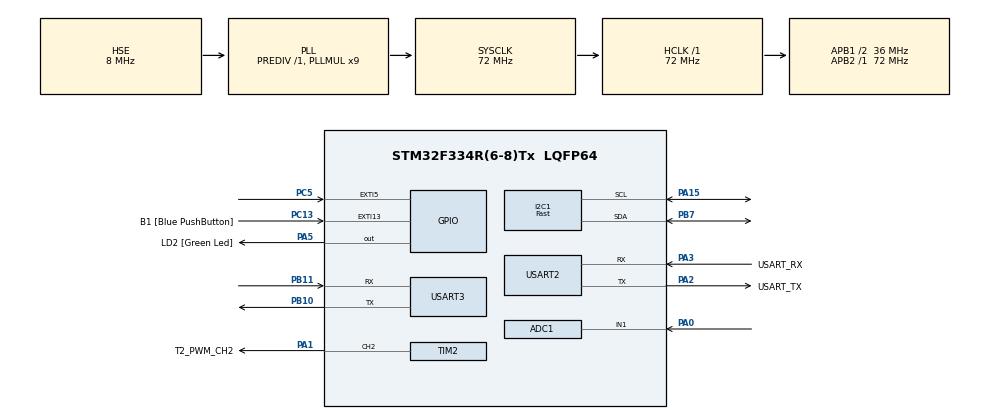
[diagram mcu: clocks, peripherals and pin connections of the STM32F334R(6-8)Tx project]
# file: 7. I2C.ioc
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ADC1.Channel-0\#ChannelRegularConversion=ADC_CHANNEL_1
ADC1.ClockPrescaler=ADC_CLOCK_SYNC_PCLK_DIV4
ADC1.ContinuousConvMode=ENABLE
ADC1.DMAContinuousRequests=ENABLE
ADC1.DataAlign=ADC_DATAALIGN_RIGHT
ADC1.DiscontinuousConvMode=DISABLE
ADC1.EOCSelection=ADC_EOC_SINGLE_CONV
ADC1.EnableAnalogWatchDog1=false
ADC1.EnableAnalogWatchDog2=false
ADC1.EnableAnalogWatchDog3=false
ADC1.EnableInjectedConversion=ENABLE
ADC1.EnableRegularConversion=ENABLE
ADC1.ExternalTrigConv=ADC_SOFTWARE_START
ADC1.ExternalTrigConvEdge=ADC_EXTERNALTRIGCONVEDGE_NONE
ADC1.InjNumberOfConversion=0
ADC1.LowPowerAutoWait=DISABLE
ADC1.NbrOfConversion=1
ADC1.NbrOfConversionFlag=1
ADC1.Offset-0\#ChannelRegularConversion=0
ADC1.OffsetNumber-0\#ChannelRegularConversion=ADC_OFFSET_NONE
ADC1.Overrun=ADC_OVR_DATA_OVERWRITTEN
ADC1.Rank-0\#ChannelRegularConversion=1
ADC1.Resolution=ADC_RESOLUTION_12B
ADC1.SamplingTime-0\#ChannelRegularConversion=ADC_SAMPLETIME_181CYCLES_5
ADC1.ScanConvMode=ADC_SCAN_DISABLE
ADC1.SubFamily=STM32F334x8
ADC1.master=1
Dma.ADC1.0.Direction=DMA_PERIPH_TO_MEMORY
Dma.ADC1.0.Instance=DMA1_Channel1
Dma.ADC1.0.MemDataAlignment=DMA_MDATAALIGN_HALFWORD
Dma.ADC1.0.MemInc=DMA_MINC_DISABLE
Dma.ADC1.0.Mode=DMA_CIRCULAR
Dma.ADC1.0.PeriphDataAlignment=DMA_PDATAALIGN_HALFWORD
Dma.ADC1.0.PeriphInc=DMA_PINC_DISABLE
Dma.ADC1.0.Priority=DMA_PRIORITY_LOW
Dma.Request0=ADC1
I2C1.I2C_Speed_Mode=I2C_Fast
I2C1.Timing=0x0000020B
Mcu.Family=STM32F3
Mcu.Name=STM32F334R(6-8)Tx
Mcu.Package=LQFP64
NVIC.DMA1_Channel1_IRQn=true\:0\:0\:false\:false\:true\:false
NVIC.EXTI15_10_IRQn=true\:0\:0\:false\:true\:true\:1\:true
NVIC.EXTI9_5_IRQn=true\:0\:0\:false\:true\:true\:2\:true
NVIC.PriorityGroup=NVIC_PRIORITYGROUP_0
NVIC.TIM3_IRQn=true\:0\:0\:false\:false\:true\:true
NVIC.TIM7_DAC2_IRQn=true\:0\:0\:false\:false\:true\:true
NVIC.USART3_IRQn=true\:0\:0\:false\:false\:true\:true
PA0.Mode=IN1-Single-Ended
PA0.Signal=ADC1_IN1
PA1.GPIO_Label=T2_PWM_CH2
PA1.Signal=S_TIM2_CH2
PA13.GPIO_Label=TMS
PA13.Mode=Serial_Wire
PA13.Signal=SYS_JTMS-SWDIO
PA14.GPIO_Label=TCK
PA14.Mode=Serial_Wire
PA14.Signal=SYS_JTCK-SWCLK
PA15.GPIO_PuPdOD=GPIO_NOPULL
PA15.Mode=I2C
PA15.Signal=I2C1_SCL
PA2.GPIO_Label=USART_TX
PA2.Mode=Asynchronous
PA2.Signal=USART2_TX
PA3.GPIO_Label=USART_RX
PA3.Mode=Asynchronous
PA3.Signal=USART2_RX
PA5.GPIO_Label=LD2 [Green Led]
PA5.Signal=GPIO_Output
PB10.Mode=Asynchronous
PB10.Signal=USART3_TX
PB11.Mode=Asynchronous
PB11.Signal=USART3_RX
PB3.GPIO_Label=SWO
PB3.Signal=SYS_JTDO-TRACESWO
PB7.GPIO_PuPdOD=GPIO_NOPULL
PB7.Mode=I2C
PB7.Signal=I2C1_SDA
PC13.GPIO_Label=B1 [Blue PushButton]
PC13.GPIO_ModeDefaultEXTI=GPIO_MODE_IT_FALLING
PC13.Signal=GPXTI13
PC14\ /\ OSC32_IN.Mode=LSE-External-Oscillator
PC14\ /\ OSC32_IN.Signal=RCC_OSC32_IN
PC15\ /\ OSC32_OUT.GPIO_Label=RCC_OSC32_OUT
PC15\ /\ OSC32_OUT.Mode=LSE-External-Oscillator
PC15\ /\ OSC32_OUT.Signal=RCC_OSC32_OUT
PC5.GPIO_PuPd=GPIO_PULLUP
PC5.Signal=GPXTI5
PF0\ /\ OSC_IN.Mode=HSE-External-Clock-Source
PF0\ /\ OSC_IN.Signal=RCC_OSC_IN
PF1\ /\ OSC_OUT.Signal=RCC_OSC_OUT
ProjectManager.HeapSize=0x200
ProjectManager.StackSize=0x400
ProjectManager.TargetToolchain=TrueSTUDIO
RCC.AHBFreq_Value=72000000
RCC.APB1CLKDivider=RCC_HCLK_DIV2
RCC.APB1Freq_Value=36000000
RCC.APB1TimFreq_Value=72000000
RCC.APB2Freq_Value=72000000
RCC.APB2TimFreq_Value=72000000
RCC.CortexFreq_Value=72000000
RCC.FLatency-AdvancedSettings=FLASH_LATENCY_2
RCC.HCLKFreq_Value=72000000
RCC.HSE_VALUE=8000000
RCC.HSI_VALUE=8000000
RCC.PLLMUL=RCC_PLL_MUL9
RCC.PLLSourceVirtual=RCC_PLLSOURCE_HSE
RCC.SYSCLKFreq_VALUE=72000000
RCC.SYSCLKSourceVirtual=RCC_SYSCLKSOURCE_PLLCLK
SH.S_TIM2_CH2.0=TIM2_CH2,PWM Generation2 CH2
TIM2.Channel-PWM\ Generation2\ CH2=TIM_CHANNEL_2
TIM2.Period=32000-1
TIM2.Prescaler=5-1
TIM2.Pulse-PWM\ Generation2\ CH2=8000-1
TIM3.Period=1000
TIM3.Prescaler=3200-1
TIM7.AutoReloadPreload=TIM_AUTORELOAD_PRELOAD_DISABLE
TIM7.Period=10000-1
TIM7.Prescaler=3600-1
USART2.VirtualMode-Asynchronous=VM_ASYNC
USART3.VirtualMode-Asynchronous=VM_ASYNC
VP_TIM2_VS_ClockSourceINT.Mode=Internal
VP_TIM3_VS_ClockSourceINT.Mode=Internal
VP_TIM7_VS_ClockSourceINT.Mode=Enable_Timer
board=NUCLEO-F334R8

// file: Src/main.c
/**
  ******************************************************************************
  * @file           : main.c
  * @brief          : Main program body
  ******************************************************************************
  ** This notice applies to any and all portions of this file
  * that are not between comment pairs USER CODE BEGIN and
  * USER CODE END. Other portions of this file, whether
  * inserted by the user or by software development tools
  * are owned by their respective copyright owners.
  *
  * COPYRIGHT(c) 2019 STMicroelectronics
  *
  * Redistribution and use in source and binary forms, with or without modification,
  * are permitted provided that the following conditions are met:
  *   1. Redistributions of source code must retain the above copyright notice,
  *      this list of conditions and the following disclaimer.
  *   2. Redistributions in binary form must reproduce the above copyright notice,
  *      this list of conditions and the following disclaimer in the documentation
  *      and/or other materials provided with the distribution.
  *   3. Neither the name of STMicroelectronics nor the names of its contributors
  *      may be used to endorse or promote products derived from this software
  *      without specific prior written permission.
  *
  * THIS SOFTWARE IS PROVIDED BY THE COPYRIGHT HOLDERS AND CONTRIBUTORS "AS IS"
  * AND ANY EXPRESS OR IMPLIED WARRANTIES, INCLUDING, BUT NOT LIMITED TO, THE
  * IMPLIED WARRANTIES OF MERCHANTABILITY AND FITNESS FOR A PARTICULAR PURPOSE ARE
  * DISCLAIMED. IN NO EVENT SHALL THE COPYRIGHT HOLDER OR CONTRIBUTORS BE LIABLE
  * FOR ANY DIRECT, INDIRECT, INCIDENTAL, SPECIAL, EXEMPLARY, OR CONSEQUENTIAL
  * DAMAGES (INCLUDING, BUT NOT LIMITED TO, PROCUREMENT OF SUBSTITUTE GOODS OR
  * SERVICES; LOSS OF USE, DATA, OR PROFITS; OR BUSINESS INTERRUPTION) HOWEVER
  * CAUSED AND ON ANY THEORY OF LIABILITY, WHETHER IN CONTRACT, STRICT LIABILITY,
  * OR TORT (INCLUDING NEGLIGENCE OR OTHERWISE) ARISING IN ANY WAY OUT OF THE USE
  * OF THIS SOFTWARE, EVEN IF ADVISED OF THE POSSIBILITY OF SUCH DAMAGE.
  *
  ******************************************************************************
  */
#include "main.h"
#include "stm32f3xx_hal.h"
#include "adc.h"
#include "dma.h"
#include "i2c.h"
#include "tim.h"
#include "usart.h"
#include "gpio.h"

/* USER CODE BEGIN Includes */
#include <math.h>
#include "my_lib\my_uart_lib.h"

#define my_uart_LIB_en 1

/* USER CODE END Includes */

/* USER CODE BEGIN PV */
/* Private variables ---------------------------------------------------------*/

/* USER CODE END PV */

void SystemClock_Config(void);
static void MX_NVIC_Init(void);

/* USER CODE BEGIN PFP */
/* Private function prototypes -----------------------------------------------*/

/* USER CODE END PFP */

/* USER CODE BEGIN 0 */
#define MPU_6050_ADDRESS (0x68 << 1)
#define HMC5883L_ADDRESS (0x1e << 1)
#define MS5611_ADDRESS (0x77 << 1)
#define CNT_Register (*(volatile unsigned *)0x40001424)
#define PI 3.141592
double Accel_X, Accel_Y, Accel_Z, Temperature;
double Gyro_X, Gyro_Y, Gyro_Z;
double Magnet_X, Magnet_Y, Magnet_Z, MagAngle, Base_Angle, Heading;
double Base_Accel_X, Base_Accel_Y, Base_Accel_Z;
double Base_Gyro_X, Base_Gyro_Y, Base_Gyro_Z;
double Base_Mage_X, Base_Mage_Y, Base_Mage_Z;
double AccXangle, AccYangle, AccZangle;
double GyroXangle, GyroYangle, GyroZangle;
double CompXangle, CompYangle, CompZangle;
uint16_t SENS_t1, OFF_t1, TCS, TCO, TREF, TEMPSENS;
uint32_t D_PRESS, D_TEMPER;
int32_t d_T, TEMP, Pressure;
int64_t OFF, SENS, T2, OFF2, SENS2;
uint8_t cammand[3] = {0x48, 0x58, 0x00};
int temp[20];
int cnt = 0;
int p_flag = 1;
int num1 = 0;
int Register = 0;

void MPU_6050_init();
void Write_reg(unsigned char senser_Add, unsigned char Register_Add, unsigned char data);
short int Read_reg_8(unsigned char senser_Add, unsigned char Register_Add);
void Read_MPU6050_Data(unsigned char senser_Add, unsigned char Register_Add);
float Tempt_Senser_Read();

void Write_reg(unsigned char senser_Add, unsigned char Register_Add, unsigned char data)		//I2C 통신으로 센서의 레지스터에 데이터 입력
{
	unsigned char buffer[2] = {Register_Add, data};
	HAL_I2C_Master_Transmit(&hi2c1, senser_Add, buffer, 2, 100);
}

void MPU_6050_init()									//MPU_6050 초기 셋팅 합수
{
	Write_reg(MPU_6050_ADDRESS, 0x6b, 0x00);			//sleep mode disable
	Write_reg(MPU_6050_ADDRESS, 0x19, 0x00);			//sample rate setting	8khz / 1 = 8Khz
	Write_reg(MPU_6050_ADDRESS, 0x1a, 0x06);			//DLPF setting 5hz, 19ms, 5hz, 18.6ms   total sample rate = 1khz
	Write_reg(MPU_6050_ADDRESS, 0x1b, 0x00);			//gyroscope full scale	+- 250dps		131LSB
	Write_reg(MPU_6050_ADDRESS, 0x1c, 0x08);			//accelerometer full scale  +-4g	8192

	HAL_Delay(100);										//센서 안정화 딜레이 타임
}

void HMC5883L_init()									//HMC5883L 초기셋팅 함수
{

	Write_reg(MPU_6050_ADDRESS, 0x6a, 0x00);			//mpu_6050 master mode off
	Write_reg(MPU_6050_ADDRESS, 0x37, 0x02);			//mpu_6050 bypass mode on

	Write_reg(HMC5883L_ADDRESS, 0x00, 0x78);			//configuration register : Samples averaged = 8, Output rate = 75Hz, Measurement Mode = Normal
	Write_reg(HMC5883L_ADDRESS, 0x01, 0x40);			//configuration register : Sensor Field Range = +-1.9Ga, Gain = 820
	Write_reg(HMC5883L_ADDRESS, 0x02, 0x00);			//Mode register : Operating Mode = Continuous-Measurement Mode

	HAL_Delay(100);										//센서 안정화 딜레이 타임

	Write_reg(MPU_6050_ADDRESS, 0x37, 0x00);			//mpu_6050 bypass mode off

	Write_reg(MPU_6050_ADDRESS, 0x25, 0x9e);			//slave read,write set and slave addr set
	Write_reg(MPU_6050_ADDRESS, 0x26, 0x03);			//slave register addr set
	Write_reg(MPU_6050_ADDRESS, 0x27, 0x82);			//slave en, bytsw, dis, group, len set

	Write_reg(MPU_6050_ADDRESS, 0x28, 0x9e);			//slave read,write set and slave addr set
	Write_reg(MPU_6050_ADDRESS, 0x29, 0x05);			//slave register addr set
	Write_reg(MPU_6050_ADDRESS, 0x2a, 0x82);			//slave en, bytsw, dis, group, len set

	Write_reg(MPU_6050_ADDRESS, 0x2b, 0x9e);			//slave read,write set and slave addr set
	Write_reg(MPU_6050_ADDRESS, 0x2c, 0x07);			//slave register addr set
	Write_reg(MPU_6050_ADDRESS, 0x2d, 0x82);			//slave en, bytsw, dis, group, len set

	Write_reg(MPU_6050_ADDRESS, 0x6a, 0x20);			//mpu_6050 master mode on

	HAL_Delay(100);
}

void MS5611_init()										//MS5611 초기 셋팅 함수
{
	uint8_t command = 0x1e;
	uint8_t temp_R[6] = {0xa2, 0xa4, 0xa6, 0xa8, 0xaa, 0xac};
	uint8_t temp_D[2];
	uint16_t Data[6];
	unsigned short int calc_data;
	uint8_t *calcA = &calc_data, *calcB;
	calcB = calcA + 1;

	HAL_I2C_Master_Transmit(&hi2c1, MS5611_ADDRESS, &command, 1, 100);
	HAL_Delay(10);
	for(int i = 0 ; i < 6 ; i++){
		HAL_I2C_Master_Transmit(&hi2c1, MS5611_ADDRESS, &temp_R[i], 1, 100);
		HAL_I2C_Master_Receive(&hi2c1, (MS5611_ADDRESS | 0x01), temp_D, 2, 200);
		calc_data = temp_D[1];
		*calcB = temp_D[0];
		Data[i] = calc_data;
	}
	SENS_t1 = Data[0];
	OFF_t1 = Data[1];
	TCS = Data[2];
	TCO = Data[3];
	TREF = Data[4];
	TEMPSENS = Data[5];
	HAL_Delay(10);
}

short int Read_reg_8(unsigned char senser_Add, unsigned char Register_Add)
{
	unsigned char Tmp_buffer[1] = {Register_Add};

	  HAL_I2C_Master_Transmit(&hi2c1, senser_Add, Tmp_buffer, 1, 100);
	  HAL_Delay(10);
	  HAL_I2C_Master_Receive(&hi2c1, (senser_Add | 0x01), Tmp_buffer, 1, 200);
	  return Tmp_buffer[0];
}

void Read_MPU6050_Data(unsigned char senser_Add, unsigned char Register_Add)
{
	unsigned char Tmp_buffer[14] = {Register_Add};
	short int Out_data;
	short int temp_d[7];
	char *calcA = &Out_data;
	char *calcB;
	calcB = calcA + 1;

	HAL_I2C_Mem_Read(&hi2c1, senser_Add, Register_Add, I2C_MEMADD_SIZE_8BIT, &Tmp_buffer[0], 14, 100);			//함수 하나로 읽기 시퀸스 작동 시간값이 굉장히 작아짐
	//HAL_I2C_Master_Transmit(&hi2c1, senser_Add, Tmp_buffer, 1, 100);
	//HAL_Delay(10);
	//HAL_I2C_Master_Receive(&hi2c1, (senser_Add | 0x01), Tmp_buffer, 14, 200);				//burst read sequence

	for(int i = 0 ; i < 7 ; i++){
	*calcB = Tmp_buffer[(2*i)];
	*calcA = Tmp_buffer[(2*i) + 1];
	temp_d[i] = Out_data;
	}

	Accel_X = temp_d[0] ;
	Accel_Y = temp_d[1] ;
	Accel_Z = temp_d[2] ;
	Temperature = temp_d[3] / 340 + 36.53;
	Gyro_X = temp_d[4] / 131.0;
	Gyro_Y = temp_d[5] / 131.0;
	Gyro_Z = temp_d[6] / 131.0;
}

void Read_HMC5883L_Data(unsigned char senser_Add, unsigned char Register_Add)
{
	unsigned char Tmp_buffer[6] = {Register_Add};
	short int Out_data;
	short int temp_d[3];
	char *calcA = &Out_data;
	char *calcB;
	calcB = calcA + 1;

	HAL_I2C_Mem_Read(&hi2c1, senser_Add, Register_Add, I2C_MEMADD_SIZE_8BIT, &Tmp_buffer[0], 6, 100);
	//HAL_I2C_Master_Transmit(&hi2c1, senser_Add, Tmp_buffer, 1, 100);
	//HAL_Delay(10);
	//HAL_I2C_Master_Receive(&hi2c1, (senser_Add | 0x01), Tmp_buffer, 6, 200);

	for(int i = 0 ; i < 3 ; i++){
		*calcB = Tmp_buffer[(2*i)];
		*calcA = Tmp_buffer[(2*i) + 1];
		temp_d[i] = Out_data;
	}

	Magnet_X = temp_d[0] / 820.0;
	Magnet_Y = temp_d[2] / 820.0;
	Magnet_Z = temp_d[1] / 820.0;

}

void Read_MS5611_Data(int Type)
{

	uint8_t temp_A[4] = {0,};
	uint32_t Data= 0;
	char *calcA, *calcB, *calcC = &Data;
	calcB = calcC + 1;
	calcA = calcC + 2;

	switch(Type){

	case 1:
		//HAL_I2C_Master_Transmit(&hi2c1, MS5611_ADDRESS, &cammand[0], 1, 100);
		//HAL_Delay(10);
		HAL_I2C_Master_Transmit(&hi2c1, MS5611_ADDRESS, &cammand[2], 1, 100);
		HAL_I2C_Master_Receive(&hi2c1, (MS5611_ADDRESS | 0x01), temp_A, 4, 200);
		*calcC = temp_A[2];
		*calcB = temp_A[1];
		*calcA = temp_A[0];
		D_PRESS = Data;
		break;

	case -1:
		//HAL_I2C_Master_Transmit(&hi2c1, MS5611_ADDRESS, &cammand[1], 1, 100);
		//HAL_Delay(10);
		HAL_I2C_Master_Transmit(&hi2c1, MS5611_ADDRESS, &cammand[2], 1, 100);
		HAL_I2C_Master_Receive(&hi2c1, (MS5611_ADDRESS | 0x01), temp_A, 4, 200);
		*calcC = temp_A[2];
		*calcB = temp_A[1];
		*calcA = temp_A[0];
		D_TEMPER = Data;
		break;
	}
}

void Calc_TP()
{
	  d_T = D_TEMPER - TREF * pow(2, 8);
	  TEMP = 2000 + d_T * TEMPSENS / pow(2, 23);

	  OFF = OFF_t1 * pow(2, 16) + (TCO * d_T)/pow(2, 7);
	  SENS = SENS_t1 * pow(2, 15) + (TCS * d_T) / pow(2,8);

	  if(TEMP < 2000){
		  T2 = pow(d_T, 2) / pow(2, 31);
		  OFF2 = 5 * pow((TEMP - 2000), 2) / 2;
		  SENS2 = 5 * pow((TEMP - 2000), 2) / 4;
		  if(TEMP < -1500){
			  OFF2 = OFF2 + 7 * pow((TEMP + 1500), 2);
			  SENS2 = SENS2 + 11 * pow((TEMP + 1500) , 2) / 2;
		  }
	  }
	  else{
		  T2 = 0;
		  OFF2 = 0;
		  SENS2 = 0;
	  }

	  TEMP -= T2;
	  OFF -= OFF2;
	  SENS -= SENS2;

	  Pressure = (D_PRESS * SENS / pow(2,21) - OFF) / pow(2, 15);

}

void HAL_TIM_PeriodElapsedCallback(TIM_HandleTypeDef *htim)		//타이머 인터럽트 콜백함수
{
	  //static unsigned char num =0;
	  if(htim -> Instance == TIM7){		//구조체 변수
		  num1++;
	  }
}

/* USER CODE END 0 */

int main(void)
{

  /* MCU Configuration----------------------------------------------------------*/

  /* Reset of all peripherals, Initializes the Flash interface and the Systick. */
  HAL_Init();

  /* Configure the system clock */
  SystemClock_Config();

  /* Initialize all configured peripherals */
  MX_GPIO_Init();
  MX_DMA_Init();
  MX_USART2_UART_Init();
  MX_USART3_UART_Init();
  MX_TIM7_Init();
  MX_TIM2_Init();
  MX_ADC1_Init();
  MX_I2C1_Init();
  MX_TIM3_Init();

  /* Initialize interrupts */
  MX_NVIC_Init();
  /* USER CODE BEGIN 2 */

  uart_init();				//usart 초기화 and 연결 확인 함수
  MPU_6050_init();			//MPU6050 초기화 함수
  HMC5883L_init();			//HMC5883L 초기설정 함수
  MS5611_init();			//MS5611 초기설정과 보정값 받기

  Read_MS5611_Data(1);
  Read_MS5611_Data(-1);

  d_T = D_TEMPER - TREF * pow(2, 8);
  TEMP = 2000 + d_T * TEMPSENS / pow(2, 23);

  OFF = OFF_t1 * pow(2, 16) + (TCO * d_T)/pow(2, 7);
  SENS = SENS_t1 * pow(2, 15) + (TCS * d_T) / pow(2,8);
  Pressure = (D_PRESS * SENS / pow(2,21) - OFF) / pow(2, 15);

  for(int i = 0; i < 20 ; i++)
  {
	  Read_HMC5883L_Data(MPU_6050_ADDRESS, 0x49);
	  Read_MPU6050_Data(MPU_6050_ADDRESS, 0x3b);

	  Base_Accel_X += Accel_X;
	  Base_Accel_Y += Accel_Y;
	  Base_Accel_Z += Accel_Z;

	  Base_Gyro_X += Gyro_X;
	  Base_Gyro_Y += Gyro_Y;
	  Base_Gyro_Z += Gyro_Z;

	  Base_Mage_X += Magnet_X;
	  Base_Mage_Y += Magnet_Y;
	  Base_Mage_Z += Magnet_Z;
  }

  Base_Accel_X /= 20;
  Base_Accel_Y /= 20;
  Base_Accel_Z /= 20;

  Base_Gyro_X /= 20;
  Base_Gyro_Y /= 20;
  Base_Gyro_Z /= 20;

  Base_Mage_X /= 20;
  Base_Mage_Y /= 20;
  Base_Mage_Z /= 20;

  Read_HMC5883L_Data(MPU_6050_ADDRESS, 0x49);
  Read_MPU6050_Data(MPU_6050_ADDRESS, 0x3b);

  Accel_X = Accel_X - Base_Accel_X;
  Accel_Y = Accel_Y - Base_Accel_Y;
  Accel_Z = Accel_Z + (8192 - Base_Accel_Z);

  AccXangle = atan2(Accel_Y, (sqrt((pow(Accel_X, 2) + pow(Accel_Z, 2))))) * 57.3;		//roll
  AccYangle = atan2(Accel_X, (sqrt((pow(Accel_Y, 2) + pow(Accel_Z, 2))))) * 57.3;		//pitch

  Heading = 0.0;
  MagAngle = 180 * (atan2((-1*Magnet_Y), Magnet_X) - 0.1408) /PI + 180;
  Base_Angle = Heading - MagAngle;

  GyroZangle = Heading;
  GyroXangle = AccXangle;
  GyroYangle = AccYangle;

  CompXangle = AccXangle;
  CompYangle = AccYangle;
  CompZangle = Heading;

  HAL_TIM_Base_Start_IT(&htim7);
  /* USER CODE END 2 */

  /* Infinite loop */
  /* USER CODE BEGIN WHILE */
  while (1)
  {

	  if(cnt == 0){
		  if(p_flag == 1) HAL_I2C_Master_Transmit(&hi2c1, MS5611_ADDRESS, &cammand[0], 1, 100);
		  else HAL_I2C_Master_Transmit(&hi2c1, MS5611_ADDRESS, &cammand[1], 1, 100);
	  }

	  cnt++;
	  if(cnt >= 10){
		  Read_MS5611_Data(p_flag);
		  if(p_flag == -1) Calc_TP();
		  p_flag = -p_flag;
		  cnt = 0;

	  }

	  Read_MPU6050_Data(MPU_6050_ADDRESS, 0x3b);
	  Read_HMC5883L_Data(MPU_6050_ADDRESS, 0x49);

	  Accel_X = Accel_X - Base_Accel_X;
	  Accel_Y = Accel_Y - Base_Accel_Y;
	  Accel_Z = Accel_Z + (8192 - Base_Accel_Z);

	  AccXangle = (atan2(Accel_Y, (sqrt((pow(Accel_X, 2) + pow(Accel_Z, 2))))) * 57.3);
	  AccYangle = (atan2(Accel_X, (sqrt((pow(Accel_Y, 2) + pow(Accel_Z, 2))))) * 57.3);
	  MagAngle = 180 * (atan2((-1*Magnet_Y), Magnet_X) - 0.1408) /PI + 180;
	  Heading = Base_Angle + MagAngle;

	  Register = CNT_Register;
	  //double dt = Register / 10000.0;
	  double ALPHA = 1/(1 + (double)CNT_Register /10000);

	  Gyro_X = Gyro_X - Base_Gyro_X;
	  Gyro_Y = Gyro_Y - Base_Gyro_Y;
	  Gyro_Z = Gyro_Z - Base_Gyro_Z;
/*

	  GyroXangle += Gyro_X*((double)CNT_Register / 10000);
	  GyroYangle += Gyro_Y*((double)CNT_Register / 10000);
	  GyroZangle += Gyro_Z*((double)CNT_Register / 10000);
*/

	  //CompXangle = (ALPHA*(CompXangle + (Gyro_X * (double)(CNT_Register / 10000)))) + ((1 - ALPHA)*AccXangle);			//수행시간 AHLPHA 값을 이용해서 자이로 데이터의 가중치가 실시간 조정
	  //CompYangle = (ALPHA*(CompYangle + (Gyro_Y * (double)(CNT_Register / 10000)))) + ((1 - ALPHA)*AccYangle);
	  CompZangle = (ALPHA*(CompZangle + (Gyro_Z * (double)(CNT_Register / 10000)))) + ((1 - ALPHA)*Heading);

	  CompXangle = (0.99*(CompXangle + (Gyro_X * (double)(CNT_Register / 10000)))) + (0.01*AccXangle);			//상수 0.93과 0.07은 가중치로 +1의 값을 서로 나누어 가짐
	  CompYangle = (0.99*(CompYangle + (Gyro_Y * (double)(CNT_Register / 10000)))) + (0.01*AccYangle);
	  //CompZangle = (0.99*(CompZangle + (Gyro_Z * (double)(CNT_Register / 10000)))) + (0.01*Heading);

	  CNT_Register = 0;

  /* USER CODE END WHILE */

  }

}

void SystemClock_Config(void)
{

  RCC_OscInitTypeDef RCC_OscInitStruct;
  RCC_ClkInitTypeDef RCC_ClkInitStruct;
  RCC_PeriphCLKInitTypeDef PeriphClkInit;

    /**Initializes the CPU, AHB and APB busses clocks
    */
  RCC_OscInitStruct.OscillatorType = RCC_OSCILLATORTYPE_HSI|RCC_OSCILLATORTYPE_HSE;
  RCC_OscInitStruct.HSEState = RCC_HSE_BYPASS;
  RCC_OscInitStruct.HSEPredivValue = RCC_HSE_PREDIV_DIV1;
  RCC_OscInitStruct.HSIState = RCC_HSI_ON;
  RCC_OscInitStruct.HSICalibrationValue = 16;
  RCC_OscInitStruct.PLL.PLLState = RCC_PLL_ON;
  RCC_OscInitStruct.PLL.PLLSource = RCC_PLLSOURCE_HSE;
  RCC_OscInitStruct.PLL.PLLMUL = RCC_PLL_MUL9;
  if (HAL_RCC_OscConfig(&RCC_OscInitStruct) != HAL_OK)
  {
    _Error_Handler(__FILE__, __LINE__);
  }

    /**Initializes the CPU, AHB and APB busses clocks
    */
  RCC_ClkInitStruct.ClockType = RCC_CLOCKTYPE_HCLK|RCC_CLOCKTYPE_SYSCLK
                              |RCC_CLOCKTYPE_PCLK1|RCC_CLOCKTYPE_PCLK2;
  RCC_ClkInitStruct.SYSCLKSource = RCC_SYSCLKSOURCE_PLLCLK;
  RCC_ClkInitStruct.AHBCLKDivider = RCC_SYSCLK_DIV1;
  RCC_ClkInitStruct.APB1CLKDivider = RCC_HCLK_DIV2;
  RCC_ClkInitStruct.APB2CLKDivider = RCC_HCLK_DIV1;

  if (HAL_RCC_ClockConfig(&RCC_ClkInitStruct, FLASH_LATENCY_2) != HAL_OK)
  {
    _Error_Handler(__FILE__, __LINE__);
  }

  PeriphClkInit.PeriphClockSelection = RCC_PERIPHCLK_I2C1;
  PeriphClkInit.I2c1ClockSelection = RCC_I2C1CLKSOURCE_HSI;
  if (HAL_RCCEx_PeriphCLKConfig(&PeriphClkInit) != HAL_OK)
  {
    _Error_Handler(__FILE__, __LINE__);
  }

    /**Configure the Systick interrupt time
    */
  HAL_SYSTICK_Config(HAL_RCC_GetHCLKFreq()/1000);

    /**Configure the Systick
    */
  HAL_SYSTICK_CLKSourceConfig(SYSTICK_CLKSOURCE_HCLK);

  /* SysTick_IRQn interrupt configuration */
  HAL_NVIC_SetPriority(SysTick_IRQn, 0, 0);
}

/**
  * @brief NVIC Configuration.
  * @retval None
  */
static void MX_NVIC_Init(void)
{
  /* EXTI15_10_IRQn interrupt configuration */
  HAL_NVIC_SetPriority(EXTI15_10_IRQn, 0, 0);
  HAL_NVIC_EnableIRQ(EXTI15_10_IRQn);
  /* EXTI9_5_IRQn interrupt configuration */
  HAL_NVIC_SetPriority(EXTI9_5_IRQn, 0, 0);
  HAL_NVIC_EnableIRQ(EXTI9_5_IRQn);
}

void _Error_Handler(char *file, int line)
{
  while(1)
  {
  }
}

/************************ (C) COPYRIGHT STMicroelectronics *****END OF FILE****/
